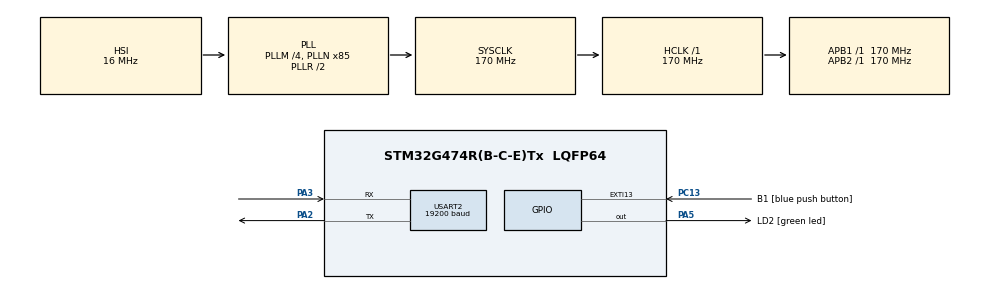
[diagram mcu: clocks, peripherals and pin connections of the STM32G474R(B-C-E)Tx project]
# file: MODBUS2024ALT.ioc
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Dma.Request0=USART2_TX
Dma.Request1=USART2_RX
Dma.USART2_RX.1.Direction=DMA_PERIPH_TO_MEMORY
Dma.USART2_RX.1.EventEnable=DISABLE
Dma.USART2_RX.1.Instance=DMA1_Channel2
Dma.USART2_RX.1.MemDataAlignment=DMA_MDATAALIGN_BYTE
Dma.USART2_RX.1.MemInc=DMA_MINC_ENABLE
Dma.USART2_RX.1.Mode=DMA_NORMAL
Dma.USART2_RX.1.PeriphDataAlignment=DMA_PDATAALIGN_BYTE
Dma.USART2_RX.1.PeriphInc=DMA_PINC_DISABLE
Dma.USART2_RX.1.Polarity=HAL_DMAMUX_REQ_GEN_RISING
Dma.USART2_RX.1.Priority=DMA_PRIORITY_LOW
Dma.USART2_RX.1.RequestNumber=1
Dma.USART2_RX.1.SignalID=NONE
Dma.USART2_RX.1.SyncEnable=DISABLE
Dma.USART2_RX.1.SyncPolarity=HAL_DMAMUX_SYNC_NO_EVENT
Dma.USART2_RX.1.SyncRequestNumber=1
Dma.USART2_RX.1.SyncSignalID=NONE
Dma.USART2_TX.0.Direction=DMA_MEMORY_TO_PERIPH
Dma.USART2_TX.0.EventEnable=DISABLE
Dma.USART2_TX.0.Instance=DMA1_Channel1
Dma.USART2_TX.0.MemDataAlignment=DMA_MDATAALIGN_BYTE
Dma.USART2_TX.0.MemInc=DMA_MINC_ENABLE
Dma.USART2_TX.0.Mode=DMA_NORMAL
Dma.USART2_TX.0.PeriphDataAlignment=DMA_PDATAALIGN_BYTE
Dma.USART2_TX.0.PeriphInc=DMA_PINC_DISABLE
Dma.USART2_TX.0.Polarity=HAL_DMAMUX_REQ_GEN_RISING
Dma.USART2_TX.0.Priority=DMA_PRIORITY_LOW
Dma.USART2_TX.0.RequestNumber=1
Dma.USART2_TX.0.SignalID=NONE
Dma.USART2_TX.0.SyncEnable=DISABLE
Dma.USART2_TX.0.SyncPolarity=HAL_DMAMUX_SYNC_NO_EVENT
Dma.USART2_TX.0.SyncRequestNumber=1
Dma.USART2_TX.0.SyncSignalID=NONE
Mcu.Family=STM32G4
Mcu.Name=STM32G474R(B-C-E)Tx
Mcu.Package=LQFP64
NVIC.DMA1_Channel1_IRQn=true\:0\:0\:false\:false\:true\:false\:true\:true
NVIC.DMA1_Channel2_IRQn=true\:0\:0\:false\:false\:true\:false\:true\:true
NVIC.EXTI15_10_IRQn=true\:0\:0\:false\:false\:true\:true\:true\:true
NVIC.PriorityGroup=NVIC_PRIORITYGROUP_4
NVIC.TIM1_UP_TIM16_IRQn=true\:0\:0\:false\:false\:true\:true\:true\:true
NVIC.USART2_IRQn=true\:0\:0\:false\:false\:true\:true\:true\:true
PA13.GPIO_Label=T_SWDIO
PA13.Mode=Serial_Wire
PA13.Signal=SYS_JTMS-SWDIO
PA14.GPIO_Label=T_SWCLK
PA14.Mode=Serial_Wire
PA14.Signal=SYS_JTCK-SWCLK
PA2.Mode=Asynchronous
PA2.Signal=USART2_TX
PA3.Mode=Asynchronous
PA3.Signal=USART2_RX
PA5.GPIO_Label=LD2 [green led]
PA5.Signal=GPIO_Output
PB3.GPIO_Label=T_SWO
PB3.Signal=SYS_JTDO-SWO
PC13.GPIO_Label=B1 [blue push button]
PC13.Signal=GPXTI13
PC14-OSC32_IN.Mode=LSE-External-Oscillator
PC14-OSC32_IN.Signal=RCC_OSC32_IN
PC15-OSC32_OUT.Mode=LSE-External-Oscillator
PC15-OSC32_OUT.Signal=RCC_OSC32_OUT
PF0-OSC_IN.Mode=HSE-External-Oscillator
PF0-OSC_IN.Signal=RCC_OSC_IN
PF1-OSC_OUT.Mode=HSE-External-Oscillator
PF1-OSC_OUT.Signal=RCC_OSC_OUT
ProjectManager.HeapSize=0x200
ProjectManager.StackSize=0x400
ProjectManager.TargetToolchain=STM32CubeIDE
RCC.ADC12Freq_Value=170000000
RCC.ADC345Freq_Value=170000000
RCC.AHBFreq_Value=170000000
RCC.APB1Freq_Value=170000000
RCC.APB1TimFreq_Value=170000000
RCC.APB2Freq_Value=170000000
RCC.APB2TimFreq_Value=170000000
RCC.CortexFreq_Value=170000000
RCC.EXTERNAL_CLOCK_VALUE=12288000
RCC.HCLKFreq_Value=170000000
RCC.HSE_VALUE=24000000
RCC.HSI48_VALUE=48000000
RCC.HSI_VALUE=16000000
RCC.PLLM=RCC_PLLM_DIV4
RCC.PLLN=85
RCC.RTCClockSelection=RCC_RTCCLKSOURCE_LSE
RCC.SYSCLKFreq_VALUE=170000000
RCC.SYSCLKSource=RCC_SYSCLKSOURCE_PLLCLK
RCC.USBFreq_Value=170000000
RCC.VCOOutputFreq_Value=340000000
TIM16.PeriodNoDither=1145
TIM16.Prescaler=169
USART2.BaudRate=19200
USART2.OneBitSampling=UART_ONE_BIT_SAMPLE_DISABLE
USART2.Parity=PARITY_EVEN
USART2.VirtualMode-Asynchronous=VM_ASYNC
USART2.WordLength=WORDLENGTH_9B
VP_SYS_VS_DBSignals.Mode=DisableDeadBatterySignals
VP_TIM16_VS_ClockSourceINT.Mode=Enable_Timer
VP_TIM16_VS_OPM.Mode=OPM_bit
board=NUCLEO-G474RE

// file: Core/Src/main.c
/* USER CODE BEGIN Header */
/**
  ******************************************************************************
  * @file           : main.c
  * @brief          : Main program body
  ******************************************************************************
  * @attention
  *
  * Copyright (c) 2024 STMicroelectronics.
  * All rights reserved.
  *
  * This software is licensed under terms that can be found in the LICENSE file
  * in the root directory of this software component.
  * If no LICENSE file comes with this software, it is provided AS-IS.
  *
  ******************************************************************************
  */
/* USER CODE END Header */
#include "main.h"

/* USER CODE BEGIN Includes */
#include "ModBusRTU.h"
#include "BaseSystem.h"
/* USER CODE END Includes */

TIM_HandleTypeDef htim16;

UART_HandleTypeDef huart2;
DMA_HandleTypeDef hdma_usart2_tx;
DMA_HandleTypeDef hdma_usart2_rx;

/* USER CODE BEGIN PV */
ModbusHandleTypedef hmodbus;

/* USER CODE END PV */

void SystemClock_Config(void);
static void MX_GPIO_Init(void);
static void MX_DMA_Init(void);
static void MX_USART2_UART_Init(void);
static void MX_TIM16_Init(void);

int main(void)
{

  /* MCU Configuration--------------------------------------------------------*/

  /* Reset of all peripherals, Initializes the Flash interface and the Systick. */
  HAL_Init();

  /* Configure the system clock */
  SystemClock_Config();

  /* Initialize all configured peripherals */
  MX_GPIO_Init();
  MX_DMA_Init();
  MX_USART2_UART_Init();
  MX_TIM16_Init();
  /* USER CODE BEGIN 2 */
  hmodbus.huart = &huart2;
  hmodbus.htim = &htim16;
  hmodbus.slaveAddress = 0x15;
  hmodbus.RegisterSize =200;
  Modbus_init(&hmodbus, registerFrame);

  /* USER CODE END 2 */

  /* Infinite loop */
  while (1)
  {

    /* USER CODE BEGIN 3 */
	  Modbus_Protocal_Worker();
	  Heartbeat();
	  Routine();
	  VacuumOn_Off();
	  Gripper_Movement();
	  Set_Shelves();
	  GetGoalPoint();
	  RunPointMode();
	  SetHome();
	  GetPick_PlaceOrder();
	  RunJogMode();
  }
  /* USER CODE END 3 */
}

void SystemClock_Config(void)
{
  RCC_OscInitTypeDef RCC_OscInitStruct = {0};
  RCC_ClkInitTypeDef RCC_ClkInitStruct = {0};

  /** Configure the main internal regulator output voltage
  */
  HAL_PWREx_ControlVoltageScaling(PWR_REGULATOR_VOLTAGE_SCALE1_BOOST);

  /** Initializes the RCC Oscillators according to the specified parameters
  * in the RCC_OscInitTypeDef structure.
  */
  RCC_OscInitStruct.OscillatorType = RCC_OSCILLATORTYPE_HSI;
  RCC_OscInitStruct.HSIState = RCC_HSI_ON;
  RCC_OscInitStruct.HSICalibrationValue = RCC_HSICALIBRATION_DEFAULT;
  RCC_OscInitStruct.PLL.PLLState = RCC_PLL_ON;
  RCC_OscInitStruct.PLL.PLLSource = RCC_PLLSOURCE_HSI;
  RCC_OscInitStruct.PLL.PLLM = RCC_PLLM_DIV4;
  RCC_OscInitStruct.PLL.PLLN = 85;
  RCC_OscInitStruct.PLL.PLLP = RCC_PLLP_DIV2;
  RCC_OscInitStruct.PLL.PLLQ = RCC_PLLQ_DIV2;
  RCC_OscInitStruct.PLL.PLLR = RCC_PLLR_DIV2;
  if (HAL_RCC_OscConfig(&RCC_OscInitStruct) != HAL_OK)
  {
    Error_Handler();
  }

  /** Initializes the CPU, AHB and APB buses clocks
  */
  RCC_ClkInitStruct.ClockType = RCC_CLOCKTYPE_HCLK|RCC_CLOCKTYPE_SYSCLK
                              |RCC_CLOCKTYPE_PCLK1|RCC_CLOCKTYPE_PCLK2;
  RCC_ClkInitStruct.SYSCLKSource = RCC_SYSCLKSOURCE_PLLCLK;
  RCC_ClkInitStruct.AHBCLKDivider = RCC_SYSCLK_DIV1;
  RCC_ClkInitStruct.APB1CLKDivider = RCC_HCLK_DIV1;
  RCC_ClkInitStruct.APB2CLKDivider = RCC_HCLK_DIV1;

  if (HAL_RCC_ClockConfig(&RCC_ClkInitStruct, FLASH_LATENCY_4) != HAL_OK)
  {
    Error_Handler();
  }
}

static void MX_TIM16_Init(void)
{

  htim16.Instance = TIM16;
  htim16.Init.Prescaler = 169;
  htim16.Init.CounterMode = TIM_COUNTERMODE_UP;
  htim16.Init.Period = 1145;
  htim16.Init.ClockDivision = TIM_CLOCKDIVISION_DIV1;
  htim16.Init.RepetitionCounter = 0;
  htim16.Init.AutoReloadPreload = TIM_AUTORELOAD_PRELOAD_DISABLE;
  if (HAL_TIM_Base_Init(&htim16) != HAL_OK)
  {
    Error_Handler();
  }
  if (HAL_TIM_OnePulse_Init(&htim16, TIM_OPMODE_SINGLE) != HAL_OK)
  {
    Error_Handler();
  }

}

static void MX_USART2_UART_Init(void)
{

  huart2.Instance = USART2;
  huart2.Init.BaudRate = 19200;
  huart2.Init.WordLength = UART_WORDLENGTH_9B;
  huart2.Init.StopBits = UART_STOPBITS_1;
  huart2.Init.Parity = UART_PARITY_EVEN;
  huart2.Init.Mode = UART_MODE_TX_RX;
  huart2.Init.HwFlowCtl = UART_HWCONTROL_NONE;
  huart2.Init.OverSampling = UART_OVERSAMPLING_16;
  huart2.Init.OneBitSampling = UART_ONE_BIT_SAMPLE_DISABLE;
  huart2.Init.ClockPrescaler = UART_PRESCALER_DIV1;
  huart2.AdvancedInit.AdvFeatureInit = UART_ADVFEATURE_NO_INIT;
  if (HAL_UART_Init(&huart2) != HAL_OK)
  {
    Error_Handler();
  }
  if (HAL_UARTEx_SetTxFifoThreshold(&huart2, UART_TXFIFO_THRESHOLD_1_8) != HAL_OK)
  {
    Error_Handler();
  }
  if (HAL_UARTEx_SetRxFifoThreshold(&huart2, UART_RXFIFO_THRESHOLD_1_8) != HAL_OK)
  {
    Error_Handler();
  }
  if (HAL_UARTEx_DisableFifoMode(&huart2) != HAL_OK)
  {
    Error_Handler();
  }

}

static void MX_DMA_Init(void)
{

  /* DMA controller clock enable */
  __HAL_RCC_DMAMUX1_CLK_ENABLE();
  __HAL_RCC_DMA1_CLK_ENABLE();

  /* DMA interrupt init */
  /* DMA1_Channel1_IRQn interrupt configuration */
  HAL_NVIC_SetPriority(DMA1_Channel1_IRQn, 0, 0);
  HAL_NVIC_EnableIRQ(DMA1_Channel1_IRQn);
  /* DMA1_Channel2_IRQn interrupt configuration */
  HAL_NVIC_SetPriority(DMA1_Channel2_IRQn, 0, 0);
  HAL_NVIC_EnableIRQ(DMA1_Channel2_IRQn);

}

static void MX_GPIO_Init(void)
{
  GPIO_InitTypeDef GPIO_InitStruct = {0};

  /* GPIO Ports Clock Enable */
  __HAL_RCC_GPIOC_CLK_ENABLE();
  __HAL_RCC_GPIOF_CLK_ENABLE();
  __HAL_RCC_GPIOA_CLK_ENABLE();
  __HAL_RCC_GPIOB_CLK_ENABLE();

  /*Configure GPIO pin Output Level */
  HAL_GPIO_WritePin(LD2_GPIO_Port, LD2_Pin, GPIO_PIN_RESET);

  /*Configure GPIO pin : B1_Pin */
  GPIO_InitStruct.Pin = B1_Pin;
  GPIO_InitStruct.Mode = GPIO_MODE_IT_RISING;
  GPIO_InitStruct.Pull = GPIO_NOPULL;
  HAL_GPIO_Init(B1_GPIO_Port, &GPIO_InitStruct);

  /*Configure GPIO pin : LD2_Pin */
  GPIO_InitStruct.Pin = LD2_Pin;
  GPIO_InitStruct.Mode = GPIO_MODE_OUTPUT_PP;
  GPIO_InitStruct.Pull = GPIO_NOPULL;
  GPIO_InitStruct.Speed = GPIO_SPEED_FREQ_LOW;
  HAL_GPIO_Init(LD2_GPIO_Port, &GPIO_InitStruct);

  /* EXTI interrupt init*/
  HAL_NVIC_SetPriority(EXTI15_10_IRQn, 0, 0);
  HAL_NVIC_EnableIRQ(EXTI15_10_IRQn);

}

void Error_Handler(void)
{
  __disable_irq();
  while (1)
  {
  }
}
